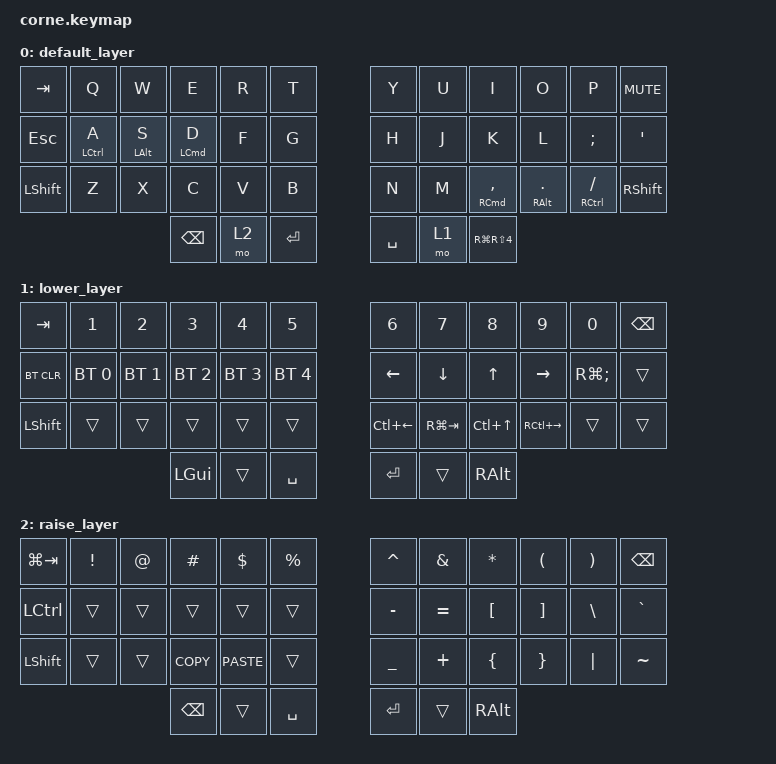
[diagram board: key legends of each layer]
/*
 * Copyright (c) 2020 The ZMK Contributors
 *
 * SPDX-License-Identifier: MIT
 */

#include <behaviors.dtsi>
#include <dt-bindings/zmk/bt.h>
#include <dt-bindings/zmk/keys.h>

/ {
    behaviors {
        hml: hml {
            compatible = "zmk,behavior-hold-tap";
            label = "HML";
            bindings = <&kp>, <&kp>;

            #binding-cells = <2>;
            tapping-term-ms = <280>;
            quick-tap-ms = <175>;
            flavor = "balanced";
            hold-trigger-on-release;
            hold-trigger-key-positions = <6 7 8 9 10 11 18 19 20 21 22 23 30 31 32 33 34 35 39 40 41 36 37 38>;
        };

        hmr: hmr {
            compatible = "zmk,behavior-hold-tap";
            label = "HMR";
            bindings = <&kp>, <&kp>;

            #binding-cells = <2>;
            tapping-term-ms = <280>;
            quick-tap-ms = <175>;
            flavor = "balanced";
            hold-trigger-on-release;
            hold-trigger-key-positions = <6 7 8 9 10 11 18 19 20 21 22 23 30 31 32 33 34 35 39 40 41 36 37 38>;
        };
    };

    keymap {
        compatible = "zmk,keymap";

        default_layer {
            // -----------------------------------------------------------------------------------------
            // |  TAB |  Q  |  W  |  E  |  R  |  T  |   |  Y  |  U   |  I  |  O  |  P  | BKSP |
            // | CTRL |  A  |  S  |  D  |  F  |  G  |   |  H  |  J   |  K  |  L  |  ;  |  '   |
            // | SHFT |  Z  |  X  |  C  |  V  |  B  |   |  N  |  M   |  ,  |  .  |  /  | ESC  |
            //                    | GUI | LWR | SPC |   | ENT | RSE  | ALT |

            bindings = <
&kp TAB     &kp Q         &kp W        &kp E                &kp R  &kp T        &kp Y      &kp U  &kp I                     &kp O          &kp P             &kp K_MUTE
&kp ESCAPE  &hml LCTRL A  &hml LALT S  &hml LEFT_COMMAND D  &kp F  &kp G        &kp H      &kp J  &kp K                     &kp L          &kp SEMI          &kp SQT
&kp LSHFT   &kp Z         &kp X        &kp C                &kp V  &kp B        &kp N      &kp M  &hmr RIGHT_COMMAND COMMA  &hmr RALT DOT  &hmr RCTRL SLASH  &kp RIGHT_SHIFT
                                       &kp BACKSPACE        &mo 2  &kp ENTER    &kp SPACE  &mo 1  &kp RG(RS(NUMBER_4))
            >;
        };

        lower_layer {
            // -----------------------------------------------------------------------------------------
            // |  TAB |  1  |  2  |  3  |  4  |  5  |   |  6  |  7  |  8  |  9  |  0  | BKSP |
            // | BTCLR| BT1 | BT2 | BT3 | BT4 | BT5 |   | LFT | DWN |  UP | RGT |     |      |
            // | SHFT |     |     |     |     |     |   |     |     |     |     |     |      |
            //                    | GUI |     | SPC |   | ENT |     | ALT |

            bindings = <
&kp TAB     &kp N1        &kp N2        &kp N3        &kp N4        &kp N5          &kp N6        &kp N7       &kp N8            &kp N9         &kp N0             &kp BSPC
&bt BT_CLR  &bt BT_SEL 0  &bt BT_SEL 1  &bt BT_SEL 2  &bt BT_SEL 3  &bt BT_SEL 4    &kp LEFT      &kp DOWN     &kp UP            &kp RIGHT      &kp RG(SEMICOLON)  &trans
&kp LSHFT   &trans        &trans        &trans        &trans        &trans          &kp LC(LEFT)  &kp RG(TAB)  &kp LC(UP_ARROW)  &kp RC(RIGHT)  &trans             &trans
                                        &kp LGUI      &trans        &kp SPACE       &kp RET       &trans       &kp RALT
            >;
        };

        raise_layer {
            // -----------------------------------------------------------------------------------------
            // |  TAB |  !  |  @  |  #  |  $  |  %  |   |  ^  |  &  |  *  |  (  |  )  | BKSP |
            // | CTRL |     |     |     |     |     |   |  -  |  =  |  [  |  ]  |  \  |  `   |
            // | SHFT |     |     |     |     |     |   |  _  |  +  |  {  |  }  | "|" |  ~   |
            //                    | GUI |     | SPC |   | ENT |     | ALT |

            bindings = <
&kp LG(TAB)  &kp EXCL  &kp AT  &kp HASH       &kp DLLR     &kp PRCNT    &kp CARET  &kp AMPS   &kp ASTRK  &kp LPAR  &kp RPAR  &kp BSPC
&kp LCTRL    &trans    &trans  &trans         &trans       &trans       &kp MINUS  &kp EQUAL  &kp LBKT   &kp RBKT  &kp BSLH  &kp GRAVE
&kp LSHFT    &trans    &trans  &kp K_COPY     &kp K_PASTE  &trans       &kp UNDER  &kp PLUS   &kp LBRC   &kp RBRC  &kp PIPE  &kp TILDE
                               &kp BACKSPACE  &trans       &kp SPACE    &kp RET    &trans     &kp RALT
            >;
        };
    };
};
